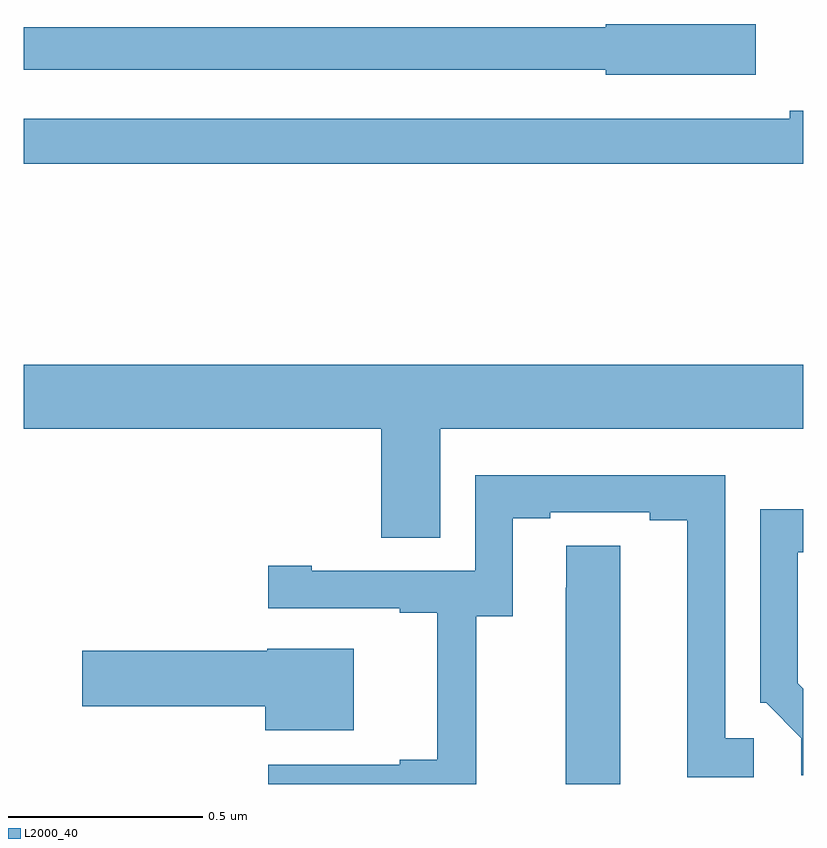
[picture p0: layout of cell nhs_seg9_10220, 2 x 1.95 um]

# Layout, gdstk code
import gdstk
lib = gdstk.Library(unit=1e-6, precision=1e-09)
def P(c, l, *ps):  # polygons
    for p in ps: c.add(gdstk.Polygon(p, *l))
L2000_40 = (2000, 40)

nhs_seg9_10220 = lib.new_cell('nhs_seg9_10220')
P(nhs_seg9_10220, L2000_40, [(241.879,1205.451),(241.494,1205.451),(241.494,1205.443),(240,1205.443),(240,1205.334),(241.494,1205.334),(241.494,1205.321),(241.879,1205.321)],
  [(242,1205.228),(241.966,1205.228),(241.966,1205.208),(240,1205.208),(240,1205.092),(242,1205.092)],
  [(241.069,1204.412),(242,1204.412),(242,1204.576),(240,1204.576),(240,1204.412),(240.917,1204.412),(240.917,1204.132),(241.069,1204.132)],
  [(241.161,1203.931),(241.255,1203.931),(241.255,1204.182),(241.351,1204.182),(241.351,1204.197),(241.607,1204.197),(241.607,1204.177),(241.703,1204.177),(241.703,1203.517),(241.873,1203.517),(241.873,1203.618),(241.8,1203.618),(241.8,1204.293),(241.158,1204.293),(241.158,1204.047),(240.739,1204.047),(240.739,1204.06),(240.627,1204.06),(240.627,1203.951),(240.965,1203.951),(240.965,1203.939),(241.061,1203.939),(241.061,1203.562),(240.965,1203.562),(240.965,1203.549),(240.627,1203.549),(240.627,1203.5),(241.161,1203.5)],
  [(242,1203.745),(241.987,1203.758),(241.987,1204.095),(242,1204.095),(242,1204.205),(241.89,1204.205),(241.89,1203.708),(241.905,1203.708),(241.995,1203.618),(241.995,1203.522),(242,1203.522)],
  [(241.531,1204.112),(241.392,1204.112),(241.392,1204.004),(241.391,1204.004),(241.391,1203.5),(241.531,1203.5)],
  [(240.847,1203.847),(240.624,1203.847),(240.624,1203.842),(240.15,1203.842),(240.15,1203.7),(240.62,1203.7),(240.62,1203.638),(240.847,1203.638)])

lib.write_gds('nhs_seg9_10220.gds')
